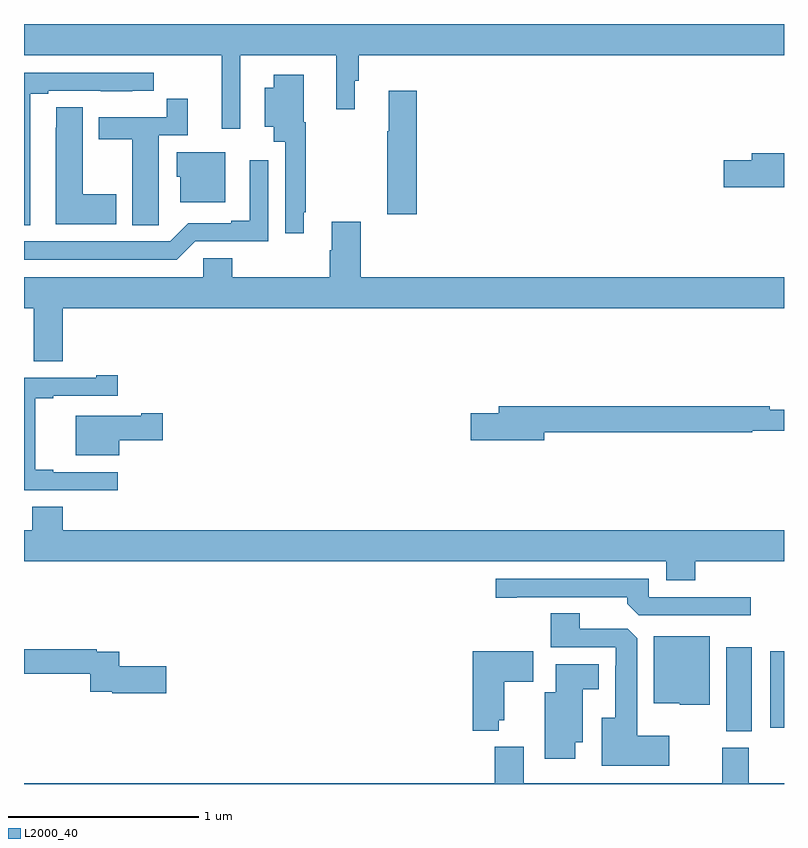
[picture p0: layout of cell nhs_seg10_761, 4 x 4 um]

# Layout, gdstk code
import gdstk
lib = gdstk.Library(unit=1e-6, precision=1e-09)
def R(c, l, rs):  # rectangles x0, y0, x1, y1
    for r in rs: c.add(gdstk.rectangle(r[:2], r[2:], *l))
def P(c, l, *ps):  # polygons
    for p in ps: c.add(gdstk.Polygon(p, *l))
L2000_40 = (2000, 40)

nhs_seg10_761 = lib.new_cell('nhs_seg10_761')
R(nhs_seg10_761, L2000_40, [(152.696,1276.777,152.83,1277.221), (152.927,1276.797,153,1277.2)])
P(nhs_seg10_761, L2000_40, [(150.138,1280.336),(150.644,1280.336),(150.644,1280.052),(150.742,1280.052),(150.742,1280.202),(150.761,1280.202),(150.761,1280.336),(153,1280.336),(153,1280.5),(149,1280.5),(149,1280.336),(150.041,1280.336),(150.041,1279.95),(150.138,1279.95)],
  [(149.032,1280.133),(149.128,1280.133),(149.128,1280.148),(149.404,1280.148),(149.404,1280.147),(149.57,1280.147),(149.57,1280.148),(149.683,1280.148),(149.683,1280.244),(149,1280.244),(149,1279.441),(149.032,1279.441)],
  [(150.472,1279.51),(150.484,1279.51),(150.484,1279.984),(150.472,1279.984),(150.472,1280.233),(150.314,1280.233),(150.314,1280.164),(150.266,1280.164),(150.266,1279.958),(150.314,1279.958),(150.314,1279.88),(150.375,1279.88),(150.375,1279.398),(150.472,1279.398)],
  [(151.067,1280.149),(150.92,1280.149),(150.92,1279.936),(150.913,1279.936),(150.913,1279.5),(151.067,1279.5)],
  [(149.709,1279.552),(149.71,1279.552),(149.71,1279.914),(149.861,1279.914),(149.861,1280.107),(149.752,1280.107),(149.752,1280.01),(149.393,1280.01),(149.393,1279.894),(149.57,1279.894),(149.57,1279.441),(149.709,1279.441)],
  [(149.485,1279.605),(149.308,1279.605),(149.308,1280.063),(149.169,1280.063),(149.169,1279.955),(149.168,1279.955),(149.168,1279.445),(149.485,1279.445)],
  [(150.058,1279.825),(149.804,1279.825),(149.804,1279.695),(149.822,1279.695),(149.822,1279.562),(150.058,1279.562)],
  [(153,1279.82),(152.831,1279.82),(152.831,1279.784),(152.682,1279.784),(152.682,1279.642),(153,1279.642)],
  [(149.901,1279.356),(150.285,1279.356),(150.285,1279.783),(150.188,1279.783),(150.188,1279.465),(150.092,1279.465),(150.092,1279.452),(149.865,1279.452),(149.769,1279.356),(149,1279.356),(149,1279.26),(149.805,1279.26)],
  [(149.204,1279.004),(153,1279.004),(153,1279.168),(150.773,1279.168),(150.773,1279.459),(150.62,1279.459),(150.62,1279.31),(150.608,1279.31),(150.608,1279.168),(150.095,1279.168),(150.095,1279.266),(149.943,1279.266),(149.943,1279.168),(149,1279.168),(149,1279.004),(149.051,1279.004),(149.051,1278.724),(149.204,1278.724)],
  [(149.494,1278.141),(149.155,1278.141),(149.155,1278.154),(149.06,1278.154),(149.06,1278.531),(149.155,1278.531),(149.155,1278.543),(149.494,1278.543),(149.494,1278.652),(149.381,1278.652),(149.381,1278.639),(149,1278.639),(149,1278.045),(149.494,1278.045)],
  [(151.738,1278.352),(152.834,1278.352),(152.834,1278.36),(153,1278.36),(153,1278.469),(152.924,1278.469),(152.924,1278.488),(151.499,1278.488),(151.499,1278.452),(151.35,1278.452),(151.35,1278.31),(151.738,1278.31)],
  [(149.5,1278.31),(149.731,1278.31),(149.731,1278.452),(149.618,1278.452),(149.618,1278.439),(149.273,1278.439),(149.273,1278.23),(149.5,1278.23)],
  [(152.534,1277.672),(153,1277.672),(153,1277.836),(149.204,1277.836),(149.204,1277.96),(149.044,1277.96),(149.044,1277.836),(149,1277.836),(149,1277.672),(152.381,1277.672),(152.381,1277.573),(152.534,1277.573)],
  [(152.824,1277.484),(152.289,1277.484),(152.289,1277.58),(151.482,1277.58),(151.482,1277.479),(151.594,1277.479),(151.594,1277.484),(152.174,1277.484),(152.174,1277.45),(152.235,1277.388),(152.824,1277.388)],
  [(152.395,1276.753),(152.227,1276.753),(152.227,1277.267),(152.178,1277.316),(151.924,1277.316),(151.924,1277.399),(151.772,1277.399),(151.772,1277.22),(152.115,1277.22),(152.115,1277.123),(152.111,1277.123),(152.111,1276.849),(152.042,1276.849),(152.042,1276.595),(152.395,1276.595)],
  [(152.608,1277.278),(152.315,1277.278),(152.315,1276.925),(152.451,1276.925),(152.451,1276.916),(152.608,1276.916)],
  [(149.749,1277.12),(149.501,1277.12),(149.501,1277.196),(149.384,1277.196),(149.384,1277.209),(149,1277.209),(149,1277.08),(149.348,1277.08),(149.348,1276.985),(149.464,1276.985),(149.464,1276.978),(149.749,1276.978)],
  [(151.498,1276.835),(151.528,1276.835),(151.528,1277.038),(151.681,1277.038),(151.681,1277.2),(151.361,1277.2),(151.361,1276.781),(151.498,1276.781)],
  [(151.9,1276.721),(151.942,1276.721),(151.942,1277),(152.026,1277),(152.026,1277.131),(151.799,1277.131),(151.799,1276.984),(151.742,1276.984),(151.742,1276.632),(151.9,1276.632)],
  [(153,1276.504),(152.815,1276.504),(152.815,1276.692),(152.675,1276.692),(152.675,1276.504),(151.63,1276.504),(151.63,1276.696),(151.478,1276.696),(151.478,1276.504),(149,1276.504),(149,1276.5),(153,1276.5)])

lib.write_gds('nhs_seg10_761.gds')
